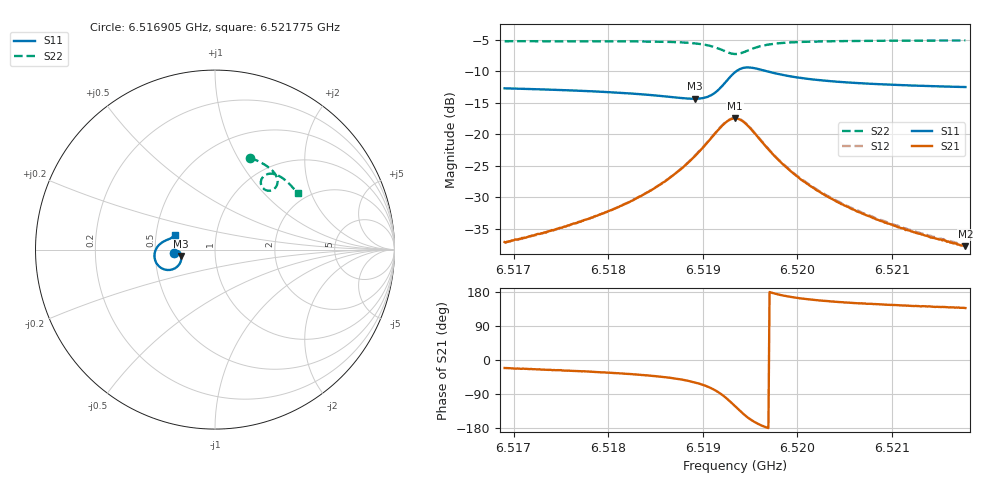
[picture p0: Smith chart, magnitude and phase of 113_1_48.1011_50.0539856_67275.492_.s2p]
#  HZ  S  RI  R  50.00
! Rohde & Schwarz Vector Network Analyzer
! Rohde-Schwarz,ZNB20-2Port,1311601062101988,3.16
! Created: UTC 12/23/2023, 3:45:59 AM
! freq[Hz]  re:S11  im:S11  re:S21  im:S21  re:S12  im:S12  re:S22  im:S22
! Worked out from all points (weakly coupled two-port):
!   401 points, 6.516905 GHz to 6.521775 GHz, reference 50 ohm
!   highest |S21| = -17.45 dB at 6.51934 GHz (marker M1); lowest = -37.8 dB at 6.521775 GHz (marker M2)
!   lowest |S11| = -14.4 dB at 6.518914 GHz (marker M3), VSWR 1.47, Z = 34.1 - j2.49 ohm
!   |S11| at or under -10 dB: start of sweep to 6.519352 GHz; 6.519682 GHz to end of sweep
!   |S22| runs from -7.3 to -5.1 dB; largest |S21 - S12| = 0.0042
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6.5169052e9  -0.2311 -0.0189  0.013 -0.00504  0.013 -0.00464  0.1966 0.5117
6.5173191e9  -0.2267 -0.0128  0.015 -0.00713  0.0151 -0.00654  0.2272 0.4994
6.5177209e9  -0.2212 -0.0079  0.0178 -0.0103  0.0181 -0.00955  0.257 0.4845
6.5182079e9  -0.2115 -0.00555  0.023 -0.0171  0.0236 -0.0165  0.2936 0.4619
6.5185366e9  -0.202 -0.00972  0.0285 -0.0272  0.0295 -0.0263  0.3189 0.4406
6.518768e9  -0.1934 -0.0204  0.033 -0.0413  0.0345 -0.0406  0.3367 0.4186
6.5189141e9  -0.1882 -0.0351  0.0344 -0.0574  0.0364 -0.0567  0.3461 0.3984
6.5190237e9  -0.1881 -0.0541  0.0313 -0.0757  0.0338 -0.0753  0.3488 0.3776
6.5191089e9  -0.1949 -0.075  0.0219 -0.0948  0.0249 -0.0947  0.3444 0.3575
6.5192428e9  -0.2365 -0.11  -0.0206 -0.1228  -0.0171 -0.1243  0.3126 0.3295
6.5193402e9  -0.2926 -0.1063  -0.0708 -0.1138  -0.0678 -0.1167  0.2742 0.3364
6.5193889e9  -0.3168 -0.0882  -0.0904 -0.0953  -0.0883 -0.0987  0.2606 0.3521
6.5194498e9  -0.3339 -0.0577  -0.1023 -0.0669  -0.1012 -0.0704  0.2554 0.3754
6.5195472e9  -0.3346 -0.0132  -0.0979 -0.0288  -0.0979 -0.0319  0.2674 0.4046
6.5196568e9  -0.3193 0.0176  -0.0816 -0.00502  -0.082 -0.00753  0.2899 0.4196
6.5199003e9  -0.2874 0.0444  -0.0519 0.0114  -0.0528 0.00995  0.331 0.4208
6.5201559e9  -0.2676 0.0539  -0.0355 0.0136  -0.0364 0.0128  0.3596 0.4091
6.5204725e9  -0.253 0.0601  -0.0247 0.0129  -0.0254 0.0124  0.3859 0.3914
6.520716e9  -0.2453 0.0638  -0.0198 0.0118  -0.0203 0.0115  0.4027 0.3772
6.5209717e9  -0.2388 0.0675  -0.0161 0.011  -0.0165 0.0107  0.4182 0.3621
6.52141e9  -0.2299 0.0737  -0.0118 0.00952  -0.0124 0.00955  0.4422 0.3356
6.5217752e9  -0.224 0.0787  -0.00949 0.00881  -0.01 0.00859  0.4598 0.313
